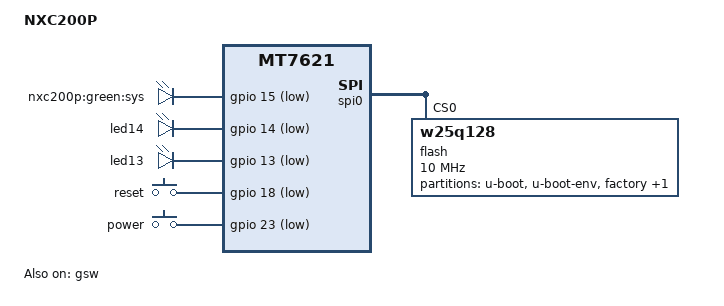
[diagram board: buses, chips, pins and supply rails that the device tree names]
/dts-v1/;

#include "mt7621.dtsi"

#include <dt-bindings/gpio/gpio.h>
#include <dt-bindings/input/input.h>

/ {
	compatible = "xwrt,nxc200p", "mediatek,mt7621-soc";
	model = "NXC200P";

	aliases {
		led-status = &led_sys;
		label-mac-device = &gmac0;
	};

	chosen {
		bootargs = "console=ttyS0,57600";
	};

	leds {
		compatible = "gpio-leds";

		led_sys: sys {
			label = "nxc200p:green:sys";
			gpios = <&gpio 15 1>;
			default-state = "on";
		};

		led14 {
			label = "led14";
			gpios = <&gpio 14 1>;
		};

		led13 {
			label = "led13";
			gpios = <&gpio 13 1>;
		};
	};

	keys {
		compatible = "gpio-keys";

		reset {
			label = "reset";
			gpios = <&gpio 18 1>;
			linux,code = <KEY_RESTART>;
		};

		power {
			label = "power";
			gpios = <&gpio 23 1>;
			linux,code = <KEY_POWER>;
		};
	};
};

&spi0 {
	status = "okay";

	flash@0 {
		compatible = "w25q128";
		reg = <0>;
		linux,modalias = "m25p80";
		spi-max-frequency = <10000000>;

		partitions {
			compatible = "fixed-partitions";
			#address-cells = <1>;
			#size-cells = <1>;

			partition@0 {
				label = "u-boot";
				reg = <0x0 0x30000>;
				read-only;
			};

			partition@30000 {
				label = "u-boot-env";
				reg = <0x30000 0x10000>;
				read-only;
			};

			factory: partition@40000 {
				label = "factory";
				reg = <0x40000 0x10000>;
				read-only;
			};

			partition@50000 {
				compatible = "denx,uimage";
				label = "firmware";
				reg = <0x50000 0xfb0000>;
			};
		};
	};
};

&gmac0 {
	mtd-mac-address = <&factory 0xe000>;
	nvmem-cells = <&macaddr_factory_e000>;
	nvmem-cell-names = "mac-address";
};

&switch0 {
	/* must delete compatible property */
	/delete-property/ compatible;
};

&ethernet {
	pinctrl-0 = <&rgmii1_pins &mdio_pins>;
};

&gsw {
	compatible = "mediatek,mt753x";
	status = "okay";

	mediatek,mdio = <&mdio>;
	mediatek,portmap = "llllw";
	mt7530,direct-phy-access;
	resets = <&rstctrl 2>;
	reset-names = "mcm";
	mediatek,mcm;

	#address-cells = <1>;
	#size-cells = <0>;

	/*
	port5: port@5 {
		compatible = "mediatek,mt753x-port";
		reg = <5>;
		phy-mode = "rgmii";
		fixed-link {
			speed = <1000>;
			full-duplex;
		};
	};
	*/

	port6: port@6 {
		compatible = "mediatek,mt753x-port";
		reg = <6>;
		phy-mode = "rgmii";
		fixed-link {
			speed = <1000>;
			full-duplex;
		};
	};
};

&state_default {
	gpio {
		groups = "wdt", "rgmii2", "jtag";
		function = "gpio";
	};
};

&factory {
	compatible = "nvmem-cells";
	#address-cells = <1>;
	#size-cells = <1>;

	macaddr_factory_e000: macaddr@e000 {
		reg = <0xe000 0x6>;
	};
};
